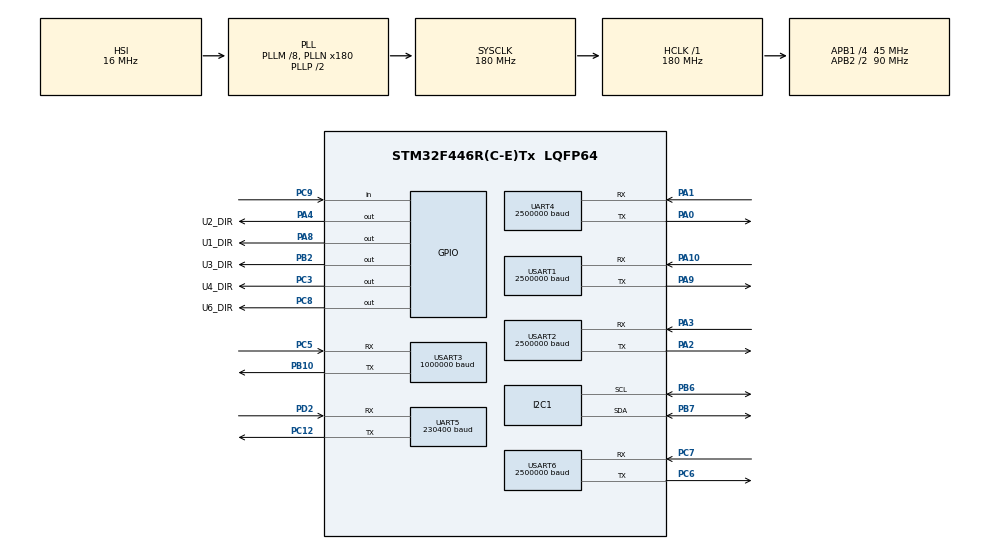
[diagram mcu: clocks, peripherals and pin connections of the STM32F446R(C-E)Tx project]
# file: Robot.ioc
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Dma.Request0=USART3_TX
Dma.Request1=USART3_RX
Dma.Request10=USART6_TX
Dma.Request11=USART6_RX
Dma.Request2=UART4_TX
Dma.Request3=UART4_RX
Dma.Request4=UART5_TX
Dma.Request5=UART5_RX
Dma.Request6=USART2_TX
Dma.Request7=USART2_RX
Dma.Request8=USART1_TX
Dma.Request9=USART1_RX
Dma.UART4_RX.3.Direction=DMA_PERIPH_TO_MEMORY
Dma.UART4_RX.3.FIFOMode=DMA_FIFOMODE_DISABLE
Dma.UART4_RX.3.Instance=DMA1_Stream2
Dma.UART4_RX.3.MemDataAlignment=DMA_MDATAALIGN_BYTE
Dma.UART4_RX.3.MemInc=DMA_MINC_ENABLE
Dma.UART4_RX.3.Mode=DMA_NORMAL
Dma.UART4_RX.3.PeriphDataAlignment=DMA_PDATAALIGN_BYTE
Dma.UART4_RX.3.PeriphInc=DMA_PINC_DISABLE
Dma.UART4_RX.3.Priority=DMA_PRIORITY_LOW
Dma.UART4_TX.2.Direction=DMA_MEMORY_TO_PERIPH
Dma.UART4_TX.2.FIFOMode=DMA_FIFOMODE_DISABLE
Dma.UART4_TX.2.Instance=DMA1_Stream4
Dma.UART4_TX.2.MemDataAlignment=DMA_MDATAALIGN_BYTE
Dma.UART4_TX.2.MemInc=DMA_MINC_ENABLE
Dma.UART4_TX.2.Mode=DMA_NORMAL
Dma.UART4_TX.2.PeriphDataAlignment=DMA_PDATAALIGN_BYTE
Dma.UART4_TX.2.PeriphInc=DMA_PINC_DISABLE
Dma.UART4_TX.2.Priority=DMA_PRIORITY_LOW
Dma.UART5_RX.5.Direction=DMA_PERIPH_TO_MEMORY
Dma.UART5_RX.5.FIFOMode=DMA_FIFOMODE_DISABLE
Dma.UART5_RX.5.Instance=DMA1_Stream0
Dma.UART5_RX.5.MemDataAlignment=DMA_MDATAALIGN_BYTE
Dma.UART5_RX.5.MemInc=DMA_MINC_ENABLE
Dma.UART5_RX.5.Mode=DMA_NORMAL
Dma.UART5_RX.5.PeriphDataAlignment=DMA_PDATAALIGN_BYTE
Dma.UART5_RX.5.PeriphInc=DMA_PINC_DISABLE
Dma.UART5_RX.5.Priority=DMA_PRIORITY_LOW
Dma.UART5_TX.4.Direction=DMA_MEMORY_TO_PERIPH
Dma.UART5_TX.4.FIFOMode=DMA_FIFOMODE_DISABLE
Dma.UART5_TX.4.Instance=DMA1_Stream7
Dma.UART5_TX.4.MemDataAlignment=DMA_MDATAALIGN_BYTE
Dma.UART5_TX.4.MemInc=DMA_MINC_ENABLE
Dma.UART5_TX.4.Mode=DMA_NORMAL
Dma.UART5_TX.4.PeriphDataAlignment=DMA_PDATAALIGN_BYTE
Dma.UART5_TX.4.PeriphInc=DMA_PINC_DISABLE
Dma.UART5_TX.4.Priority=DMA_PRIORITY_LOW
Dma.USART1_RX.9.Direction=DMA_PERIPH_TO_MEMORY
Dma.USART1_RX.9.FIFOMode=DMA_FIFOMODE_DISABLE
Dma.USART1_RX.9.Instance=DMA2_Stream2
Dma.USART1_RX.9.MemDataAlignment=DMA_MDATAALIGN_BYTE
Dma.USART1_RX.9.MemInc=DMA_MINC_ENABLE
Dma.USART1_RX.9.Mode=DMA_NORMAL
Dma.USART1_RX.9.PeriphDataAlignment=DMA_PDATAALIGN_BYTE
Dma.USART1_RX.9.PeriphInc=DMA_PINC_DISABLE
Dma.USART1_RX.9.Priority=DMA_PRIORITY_LOW
Dma.USART1_TX.8.Direction=DMA_MEMORY_TO_PERIPH
Dma.USART1_TX.8.FIFOMode=DMA_FIFOMODE_DISABLE
Dma.USART1_TX.8.Instance=DMA2_Stream7
Dma.USART1_TX.8.MemDataAlignment=DMA_MDATAALIGN_BYTE
Dma.USART1_TX.8.MemInc=DMA_MINC_ENABLE
Dma.USART1_TX.8.Mode=DMA_NORMAL
Dma.USART1_TX.8.PeriphDataAlignment=DMA_PDATAALIGN_BYTE
Dma.USART1_TX.8.PeriphInc=DMA_PINC_DISABLE
Dma.USART1_TX.8.Priority=DMA_PRIORITY_LOW
Dma.USART2_RX.7.Direction=DMA_PERIPH_TO_MEMORY
Dma.USART2_RX.7.FIFOMode=DMA_FIFOMODE_DISABLE
Dma.USART2_RX.7.Instance=DMA1_Stream5
Dma.USART2_RX.7.MemDataAlignment=DMA_MDATAALIGN_BYTE
Dma.USART2_RX.7.MemInc=DMA_MINC_ENABLE
Dma.USART2_RX.7.Mode=DMA_NORMAL
Dma.USART2_RX.7.PeriphDataAlignment=DMA_PDATAALIGN_BYTE
Dma.USART2_RX.7.PeriphInc=DMA_PINC_DISABLE
Dma.USART2_RX.7.Priority=DMA_PRIORITY_LOW
Dma.USART2_TX.6.Direction=DMA_MEMORY_TO_PERIPH
Dma.USART2_TX.6.FIFOMode=DMA_FIFOMODE_DISABLE
Dma.USART2_TX.6.Instance=DMA1_Stream6
Dma.USART2_TX.6.MemDataAlignment=DMA_MDATAALIGN_BYTE
Dma.USART2_TX.6.MemInc=DMA_MINC_ENABLE
Dma.USART2_TX.6.Mode=DMA_NORMAL
Dma.USART2_TX.6.PeriphDataAlignment=DMA_PDATAALIGN_BYTE
Dma.USART2_TX.6.PeriphInc=DMA_PINC_DISABLE
Dma.USART2_TX.6.Priority=DMA_PRIORITY_LOW
Dma.USART3_RX.1.Direction=DMA_PERIPH_TO_MEMORY
Dma.USART3_RX.1.FIFOMode=DMA_FIFOMODE_DISABLE
Dma.USART3_RX.1.Instance=DMA1_Stream1
Dma.USART3_RX.1.MemDataAlignment=DMA_MDATAALIGN_BYTE
Dma.USART3_RX.1.MemInc=DMA_MINC_ENABLE
Dma.USART3_RX.1.Mode=DMA_NORMAL
Dma.USART3_RX.1.PeriphDataAlignment=DMA_PDATAALIGN_BYTE
Dma.USART3_RX.1.PeriphInc=DMA_PINC_DISABLE
Dma.USART3_RX.1.Priority=DMA_PRIORITY_LOW
Dma.USART3_TX.0.Direction=DMA_MEMORY_TO_PERIPH
Dma.USART3_TX.0.FIFOMode=DMA_FIFOMODE_DISABLE
Dma.USART3_TX.0.Instance=DMA1_Stream3
Dma.USART3_TX.0.MemDataAlignment=DMA_MDATAALIGN_BYTE
Dma.USART3_TX.0.MemInc=DMA_MINC_ENABLE
Dma.USART3_TX.0.Mode=DMA_NORMAL
Dma.USART3_TX.0.PeriphDataAlignment=DMA_PDATAALIGN_BYTE
Dma.USART3_TX.0.PeriphInc=DMA_PINC_DISABLE
Dma.USART3_TX.0.Priority=DMA_PRIORITY_LOW
Dma.USART6_RX.11.Direction=DMA_PERIPH_TO_MEMORY
Dma.USART6_RX.11.FIFOMode=DMA_FIFOMODE_DISABLE
Dma.USART6_RX.11.Instance=DMA2_Stream1
Dma.USART6_RX.11.MemDataAlignment=DMA_MDATAALIGN_BYTE
Dma.USART6_RX.11.MemInc=DMA_MINC_ENABLE
Dma.USART6_RX.11.Mode=DMA_NORMAL
Dma.USART6_RX.11.PeriphDataAlignment=DMA_PDATAALIGN_BYTE
Dma.USART6_RX.11.PeriphInc=DMA_PINC_DISABLE
Dma.USART6_RX.11.Priority=DMA_PRIORITY_LOW
Dma.USART6_TX.10.Direction=DMA_MEMORY_TO_PERIPH
Dma.USART6_TX.10.FIFOMode=DMA_FIFOMODE_DISABLE
Dma.USART6_TX.10.Instance=DMA2_Stream6
Dma.USART6_TX.10.MemDataAlignment=DMA_MDATAALIGN_BYTE
Dma.USART6_TX.10.MemInc=DMA_MINC_ENABLE
Dma.USART6_TX.10.Mode=DMA_NORMAL
Dma.USART6_TX.10.PeriphDataAlignment=DMA_PDATAALIGN_BYTE
Dma.USART6_TX.10.PeriphInc=DMA_PINC_DISABLE
Dma.USART6_TX.10.Priority=DMA_PRIORITY_LOW
FREERTOS.INCLUDE_vTaskDelayUntil=1
FREERTOS.MEMORY_ALLOCATION=2
FREERTOS.Mutexes01=PCUART,Static,PCUARTControlBlock
FREERTOS.Queues01=UART1_req,16,UARTcmd_t,0,Static,UART1_reqBuffer,UART1_reqControlBlock;UART2_req,16,UARTcmd_t,0,Static,UART2_reqBuffer,UART2_reqControlBlock;UART3_req,16,UARTcmd_t,0,Static,UART3_reqBuffer,UART3_reqControlBlock;UART4_req,16,UARTcmd_t,0,Static,UART4_reqBuffer,UART4_reqControlBlock;UART6_req,16,UARTcmd_t,0,Static,UART6_reqBuffer,UART6_reqControlBlock;TXQueue,32,TXData_t,0,Static,TXQueueBuffer,TXQueueControlBlock
FREERTOS.Tasks01=defaultTask,-3,128,StartDefaultTask,Default,NULL,Static,defaultTaskBuffer,defaultTaskControlBlock;UART1Task,0,128,StartUART1Task,As external,NULL,Static,UART1TaskBuffer,UART1TaskControlBlock;UART2Task,0,128,StartUART2Task,As external,NULL,Static,UART2TaskBuffer,UART2TaskControlBlock;UART3Task,0,128,StartUART3Task,As external,NULL,Static,UART3TaskBuffer,UART3TaskControlBlock;UART4Task,0,128,StartUART4Task,As external,NULL,Static,UART4TaskBuffer,UART4TaskControlBlock;UART6Task,0,128,StartUART6Task,As external,NULL,Static,UART6TaskBuffer,UART6TaskControlBlock;IMUTask,0,128,StartIMUTask,As external,NULL,Static,IMUTaskBuffer,IMUTaskControlBlock;CommandTask,-1,512,StartCommandTask,As external,NULL,Static,CommandTaskBuffer,CommandTaskControlBlock;RxTask,3,512,StartRxTask,As external,NULL,Static,RxTaskBuffer,RxTaskControlBlock;TxTask,2,512,StartTxTask,As external,NULL,Static,TxTaskBuffer,TxTaskControlBlock
I2C1.I2C_Mode=I2C_Fast
Mcu.Family=STM32F4
Mcu.Name=STM32F446R(C-E)Tx
Mcu.Package=LQFP64
NVIC.DMA1_Stream0_IRQn=true\:5\:0\:false\:false\:true\:true\:false
NVIC.DMA1_Stream1_IRQn=true\:5\:0\:false\:false\:true\:true\:false
NVIC.DMA1_Stream2_IRQn=true\:5\:0\:false\:false\:true\:true\:false
NVIC.DMA1_Stream3_IRQn=true\:5\:0\:false\:false\:true\:true\:false
NVIC.DMA1_Stream4_IRQn=true\:5\:0\:false\:false\:true\:true\:false
NVIC.DMA1_Stream5_IRQn=true\:5\:0\:false\:false\:true\:true\:false
NVIC.DMA1_Stream6_IRQn=true\:5\:0\:false\:false\:true\:true\:false
NVIC.DMA1_Stream7_IRQn=true\:5\:0\:false\:false\:true\:true\:false
NVIC.DMA2_Stream1_IRQn=true\:5\:0\:false\:false\:true\:true\:false
NVIC.DMA2_Stream2_IRQn=true\:5\:0\:false\:false\:true\:true\:false
NVIC.DMA2_Stream6_IRQn=true\:5\:0\:false\:false\:true\:true\:false
NVIC.DMA2_Stream7_IRQn=true\:5\:0\:false\:false\:true\:true\:false
NVIC.I2C1_EV_IRQn=true\:5\:0\:false\:false\:true\:true\:true
NVIC.PriorityGroup=NVIC_PRIORITYGROUP_4
NVIC.TIM1_UP_TIM10_IRQn=true\:0\:0\:false\:false\:true\:false\:false
NVIC.TimeBase=TIM1_UP_TIM10_IRQn
NVIC.TimeBaseIP=TIM1
NVIC.UART4_IRQn=true\:5\:0\:false\:false\:true\:true\:true
NVIC.UART5_IRQn=true\:5\:0\:false\:false\:true\:true\:true
NVIC.USART1_IRQn=true\:5\:0\:false\:false\:true\:true\:true
NVIC.USART2_IRQn=true\:5\:0\:false\:false\:true\:true\:true
NVIC.USART3_IRQn=true\:5\:0\:false\:false\:true\:true\:true
NVIC.USART6_IRQn=true\:5\:0\:false\:false\:true\:true\:true
PA0-WKUP.Mode=Asynchronous
PA0-WKUP.Signal=UART4_TX
PA1.Mode=Asynchronous
PA1.Signal=UART4_RX
PA10.Mode=Asynchronous
PA10.Signal=USART1_RX
PA2.Mode=Asynchronous
PA2.Signal=USART2_TX
PA3.Mode=Asynchronous
PA3.Signal=USART2_RX
PA4.GPIO_Label=U2_DIR
PA4.GPIO_Speed=GPIO_SPEED_FREQ_VERY_HIGH
PA4.Signal=GPIO_Output
PA8.GPIO_Label=U1_DIR
PA8.GPIO_Speed=GPIO_SPEED_FREQ_VERY_HIGH
PA8.Signal=GPIO_Output
PA9.Mode=Asynchronous
PA9.Signal=USART1_TX
PB10.Mode=Asynchronous
PB10.Signal=USART3_TX
PB2.GPIO_Label=U3_DIR
PB2.GPIO_Speed=GPIO_SPEED_FREQ_VERY_HIGH
PB2.Signal=GPIO_Output
PB6.Mode=I2C
PB6.Signal=I2C1_SCL
PB7.Mode=I2C
PB7.Signal=I2C1_SDA
PC12.Mode=Asynchronous
PC12.Signal=UART5_TX
PC3.GPIO_Label=U4_DIR
PC3.GPIO_Speed=GPIO_SPEED_FREQ_VERY_HIGH
PC3.Signal=GPIO_Output
PC5.Mode=Asynchronous
PC5.Signal=USART3_RX
PC6.Mode=Asynchronous
PC6.Signal=USART6_TX
PC7.Mode=Asynchronous
PC7.Signal=USART6_RX
PC8.GPIO_Label=U6_DIR
PC8.GPIO_Speed=GPIO_SPEED_FREQ_VERY_HIGH
PC8.Signal=GPIO_Output
PC9.Signal=GPIO_Input
PD2.Mode=Asynchronous
PD2.Signal=UART5_RX
ProjectManager.HeapSize=0x200
ProjectManager.StackSize=0x400
ProjectManager.TargetToolchain=SW4STM32
RCC.AHBFreq_Value=180000000
RCC.APB1CLKDivider=RCC_HCLK_DIV4
RCC.APB1Freq_Value=45000000
RCC.APB1TimFreq_Value=90000000
RCC.APB2CLKDivider=RCC_HCLK_DIV2
RCC.APB2Freq_Value=90000000
RCC.APB2TimFreq_Value=180000000
RCC.CortexFreq_Value=180000000
RCC.HCLKFreq_Value=180000000
RCC.PLLM=8
RCC.PLLN=180
RCC.SYSCLKFreq_VALUE=180000000
RCC.SYSCLKSource=RCC_SYSCLKSOURCE_PLLCLK
RCC.USBFreq_Value=180000000
RCC.VCOOutputFreq_Value=360000000
UART4.BaudRate=2500000
UART4.VirtualMode=Asynchronous
UART5.BaudRate=230400
UART5.VirtualMode=Asynchronous
USART1.BaudRate=2500000
USART1.VirtualMode=VM_ASYNC
USART2.BaudRate=2500000
USART2.VirtualMode=VM_ASYNC
USART3.BaudRate=1000000
USART3.VirtualMode=VM_ASYNC
USART6.BaudRate=2500000
USART6.VirtualMode=VM_ASYNC
VP_FREERTOS_VS_ENABLE.Mode=Enabled
VP_SYS_VS_tim1.Mode=TIM1
board=Robot

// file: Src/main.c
/**
  ******************************************************************************
  * @file           : main.c
  * @brief          : Main program body
  ******************************************************************************
  * This notice applies to any and all portions of this file
  * that are not between comment pairs USER CODE BEGIN and
  * USER CODE END. Other portions of this file, whether
  * inserted by the user or by software development tools
  * are owned by their respective copyright owners.
  *
  * Copyright (c) 2018 STMicroelectronics International N.V.
  * All rights reserved.
  *
  * Redistribution and use in source and binary forms, with or without
  * modification, are permitted, provided that the following conditions are met:
  *
  * 1. Redistribution of source code must retain the above copyright notice,
  *    this list of conditions and the following disclaimer.
  * 2. Redistributions in binary form must reproduce the above copyright notice,
  *    this list of conditions and the following disclaimer in the documentation
  *    and/or other materials provided with the distribution.
  * 3. Neither the name of STMicroelectronics nor the names of other
  *    contributors to this software may be used to endorse or promote products
  *    derived from this software without specific written permission.
  * 4. This software, including modifications and/or derivative works of this
  *    software, must execute solely and exclusively on microcontroller or
  *    microprocessor devices manufactured by or for STMicroelectronics.
  * 5. Redistribution and use of this software other than as permitted under
  *    this license is void and will automatically terminate your rights under
  *    this license.
  *
  * THIS SOFTWARE IS PROVIDED BY STMICROELECTRONICS AND CONTRIBUTORS "AS IS"
  * AND ANY EXPRESS, IMPLIED OR STATUTORY WARRANTIES, INCLUDING, BUT NOT
  * LIMITED TO, THE IMPLIED WARRANTIES OF MERCHANTABILITY, FITNESS FOR A
  * PARTICULAR PURPOSE AND NON-INFRINGEMENT OF THIRD PARTY INTELLECTUAL PROPERTY
  * RIGHTS ARE DISCLAIMED TO THE FULLEST EXTENT PERMITTED BY LAW. IN NO EVENT
  * SHALL STMICROELECTRONICS OR CONTRIBUTORS BE LIABLE FOR ANY DIRECT, INDIRECT,
  * INCIDENTAL, SPECIAL, EXEMPLARY, OR CONSEQUENTIAL DAMAGES (INCLUDING, BUT NOT
  * LIMITED TO, PROCUREMENT OF SUBSTITUTE GOODS OR SERVICES; LOSS OF USE, DATA,
  * OR PROFITS; OR BUSINESS INTERRUPTION) HOWEVER CAUSED AND ON ANY THEORY OF
  * LIABILITY, WHETHER IN CONTRACT, STRICT LIABILITY, OR TORT (INCLUDING
  * NEGLIGENCE OR OTHERWISE) ARISING IN ANY WAY OUT OF THE USE OF THIS SOFTWARE,
  * EVEN IF ADVISED OF THE POSSIBILITY OF SUCH DAMAGE.
  *
  ******************************************************************************
  */
#include "main.h"
#include "stm32f4xx_hal.h"
#include "cmsis_os.h"
#include "dma.h"
#include "i2c.h"
#include "usart.h"
#include "gpio.h"

/* USER CODE BEGIN PV */
/* Private variables ---------------------------------------------------------*/

/* USER CODE END PV */

void SystemClock_Config(void);
void MX_FREERTOS_Init(void);

/* USER CODE BEGIN PFP */
/* Private function prototypes -----------------------------------------------*/

/* USER CODE END PFP */

/* USER CODE BEGIN 0 */
/** \mainpage Welcome
 *
 * \section intro_sec Introduction
 *
 * This is the documentation for the embedded software for UTRA's soccerbot.
 * In the future, this page will be updated with high-level descriptions of
 * how this software works (including some diagrams!). Until that time comes,
 * we suggest browsing the Modules and Data Structures sections.
 *
 * To return to UTRA's website, <a href="http://utrahumanoid.ca/">click me</a>.
 *
 * \section desc High-level Description
 * Coming soon.
 *
 * \subsection desc_dataflow Dataflow
 * Coming soon. For now, please see [FreeRTOS](@ref FreeRTOS), [UART_Handler]
 * (@ref UART_Handler) and [Communication](@ref Communication).
 *
 * \subsection desc_actuators Actuators
 * Coming soon. For now, please see [Dynamixel](@ref Dynamixel).
 *
 * \subsection desc_sensors Sensors
 * Coming soon. For now, please see [MPU6050](@ref MPU6050).
 */
/* USER CODE END 0 */

int main(void)
{

  /* MCU Configuration----------------------------------------------------------*/

  /* Reset of all peripherals, Initializes the Flash interface and the Systick. */
  HAL_Init();

  /* Configure the system clock */
  SystemClock_Config();

  /* Initialize all configured peripherals */
  MX_GPIO_Init();
  MX_DMA_Init();
  MX_USART1_UART_Init();
  MX_USART6_UART_Init();
  MX_USART2_UART_Init();
  MX_UART4_Init();
  MX_I2C1_Init();
  MX_USART3_UART_Init();
  MX_UART5_Init();

  /* Call init function for freertos objects (in freertos.c) */
  MX_FREERTOS_Init();

  /* Start scheduler */
  osKernelStart();

  /* We should never get here as control is now taken by the scheduler */

  /* Infinite loop */
  while (1)
  {

  }

}

void SystemClock_Config(void)
{

  RCC_OscInitTypeDef RCC_OscInitStruct;
  RCC_ClkInitTypeDef RCC_ClkInitStruct;

    /**Configure the main internal regulator output voltage
    */
  __HAL_RCC_PWR_CLK_ENABLE();

  __HAL_PWR_VOLTAGESCALING_CONFIG(PWR_REGULATOR_VOLTAGE_SCALE1);

    /**Initializes the CPU, AHB and APB busses clocks
    */
  RCC_OscInitStruct.OscillatorType = RCC_OSCILLATORTYPE_HSI;
  RCC_OscInitStruct.HSIState = RCC_HSI_ON;
  RCC_OscInitStruct.HSICalibrationValue = 16;
  RCC_OscInitStruct.PLL.PLLState = RCC_PLL_ON;
  RCC_OscInitStruct.PLL.PLLSource = RCC_PLLSOURCE_HSI;
  RCC_OscInitStruct.PLL.PLLM = 8;
  RCC_OscInitStruct.PLL.PLLN = 180;
  RCC_OscInitStruct.PLL.PLLP = RCC_PLLP_DIV2;
  RCC_OscInitStruct.PLL.PLLQ = 2;
  RCC_OscInitStruct.PLL.PLLR = 2;
  if (HAL_RCC_OscConfig(&RCC_OscInitStruct) != HAL_OK)
  {
    _Error_Handler(__FILE__, __LINE__);
  }

    /**Activate the Over-Drive mode
    */
  if (HAL_PWREx_EnableOverDrive() != HAL_OK)
  {
    _Error_Handler(__FILE__, __LINE__);
  }

    /**Initializes the CPU, AHB and APB busses clocks
    */
  RCC_ClkInitStruct.ClockType = RCC_CLOCKTYPE_HCLK|RCC_CLOCKTYPE_SYSCLK
                              |RCC_CLOCKTYPE_PCLK1|RCC_CLOCKTYPE_PCLK2;
  RCC_ClkInitStruct.SYSCLKSource = RCC_SYSCLKSOURCE_PLLCLK;
  RCC_ClkInitStruct.AHBCLKDivider = RCC_SYSCLK_DIV1;
  RCC_ClkInitStruct.APB1CLKDivider = RCC_HCLK_DIV4;
  RCC_ClkInitStruct.APB2CLKDivider = RCC_HCLK_DIV2;

  if (HAL_RCC_ClockConfig(&RCC_ClkInitStruct, FLASH_LATENCY_5) != HAL_OK)
  {
    _Error_Handler(__FILE__, __LINE__);
  }

    /**Configure the Systick interrupt time
    */
  HAL_SYSTICK_Config(HAL_RCC_GetHCLKFreq()/1000);

    /**Configure the Systick
    */
  HAL_SYSTICK_CLKSourceConfig(SYSTICK_CLKSOURCE_HCLK);

  /* SysTick_IRQn interrupt configuration */
  HAL_NVIC_SetPriority(SysTick_IRQn, 15, 0);
}

void HAL_TIM_PeriodElapsedCallback(TIM_HandleTypeDef *htim)
{
  if (htim->Instance == TIM1) {
    HAL_IncTick();
  }
}

void _Error_Handler(char *file, int line)
{
  while(1)
  {
  }
}

/************************ (C) COPYRIGHT STMicroelectronics *****END OF FILE****/

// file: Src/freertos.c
/**
  ******************************************************************************
  * File Name          : freertos.c
  * Description        : Code for freertos applications
  ******************************************************************************
  * This notice applies to any and all portions of this file
  * that are not between comment pairs USER CODE BEGIN and
  * USER CODE END. Other portions of this file, whether
  * inserted by the user or by software development tools
  * are owned by their respective copyright owners.
  *
  * Copyright (c) 2018 STMicroelectronics International N.V.
  * All rights reserved.
  *
  * Redistribution and use in source and binary forms, with or without
  * modification, are permitted, provided that the following conditions are met:
  *
  * 1. Redistribution of source code must retain the above copyright notice,
  *    this list of conditions and the following disclaimer.
  * 2. Redistributions in binary form must reproduce the above copyright notice,
  *    this list of conditions and the following disclaimer in the documentation
  *    and/or other materials provided with the distribution.
  * 3. Neither the name of STMicroelectronics nor the names of other
  *    contributors to this software may be used to endorse or promote products
  *    derived from this software without specific written permission.
  * 4. This software, including modifications and/or derivative works of this
  *    software, must execute solely and exclusively on microcontroller or
  *    microprocessor devices manufactured by or for STMicroelectronics.
  * 5. Redistribution and use of this software other than as permitted under
  *    this license is void and will automatically terminate your rights under
  *    this license.
  *
  * THIS SOFTWARE IS PROVIDED BY STMICROELECTRONICS AND CONTRIBUTORS "AS IS"
  * AND ANY EXPRESS, IMPLIED OR STATUTORY WARRANTIES, INCLUDING, BUT NOT
  * LIMITED TO, THE IMPLIED WARRANTIES OF MERCHANTABILITY, FITNESS FOR A
  * PARTICULAR PURPOSE AND NON-INFRINGEMENT OF THIRD PARTY INTELLECTUAL PROPERTY
  * RIGHTS ARE DISCLAIMED TO THE FULLEST EXTENT PERMITTED BY LAW. IN NO EVENT
  * SHALL STMICROELECTRONICS OR CONTRIBUTORS BE LIABLE FOR ANY DIRECT, INDIRECT,
  * INCIDENTAL, SPECIAL, EXEMPLARY, OR CONSEQUENTIAL DAMAGES (INCLUDING, BUT NOT
  * LIMITED TO, PROCUREMENT OF SUBSTITUTE GOODS OR SERVICES; LOSS OF USE, DATA,
  * OR PROFITS; OR BUSINESS INTERRUPTION) HOWEVER CAUSED AND ON ANY THEORY OF
  * LIABILITY, WHETHER IN CONTRACT, STRICT LIABILITY, OR TORT (INCLUDING
  * NEGLIGENCE OR OTHERWISE) ARISING IN ANY WAY OUT OF THE USE OF THIS SOFTWARE,
  * EVEN IF ADVISED OF THE POSSIBILITY OF SUCH DAMAGE.
  *
  ******************************************************************************
  */

#include "FreeRTOS.h"
#include "task.h"
#include "cmsis_os.h"

/* USER CODE BEGIN Includes */
/**
 * @file    freertos.c
 * @brief   Code for freertos application
 * @author  Gokul
 * @author  Tyler
 * @author  Izaak
 *
 * @defgroup FreeRTOS FreeRTOS
 * @brief    Everything related to FreeRTOS
 */

#include <stdint.h>
#include <stdbool.h>
#include <math.h>
#include <Notification.h>
#include "stm32f4xx_hal.h"
#include "usart.h"
#include "gpio.h"
#include "i2c.h"
#include "../Drivers/MPU6050/MPU6050.h"
#include "../Drivers/MPU6050/MPUFilter.h"
#include "UART_Handler.h"
#include "../Drivers/Dynamixel/ProtocolV1/DynamixelProtocolV1.h"
#include "../Drivers/Communication/Communication.h"
/* USER CODE END Includes */

osThreadId defaultTaskHandle;
uint32_t defaultTaskBuffer[ 128 ];
osStaticThreadDef_t defaultTaskControlBlock;
osThreadId UART1TaskHandle;
uint32_t UART1TaskBuffer[ 128 ];
osStaticThreadDef_t UART1TaskControlBlock;
osThreadId UART2TaskHandle;
uint32_t UART2TaskBuffer[ 128 ];
osStaticThreadDef_t UART2TaskControlBlock;
osThreadId UART3TaskHandle;
uint32_t UART3TaskBuffer[ 128 ];
osStaticThreadDef_t UART3TaskControlBlock;
osThreadId UART4TaskHandle;
uint32_t UART4TaskBuffer[ 128 ];
osStaticThreadDef_t UART4TaskControlBlock;
osThreadId UART6TaskHandle;
uint32_t UART6TaskBuffer[ 128 ];
osStaticThreadDef_t UART6TaskControlBlock;
osThreadId IMUTaskHandle;
uint32_t IMUTaskBuffer[ 128 ];
osStaticThreadDef_t IMUTaskControlBlock;
osThreadId CommandTaskHandle;
uint32_t CommandTaskBuffer[ 512 ];
osStaticThreadDef_t CommandTaskControlBlock;
osThreadId RxTaskHandle;
uint32_t RxTaskBuffer[ 512 ];
osStaticThreadDef_t RxTaskControlBlock;
osThreadId TxTaskHandle;
uint32_t TxTaskBuffer[ 512 ];
osStaticThreadDef_t TxTaskControlBlock;
osMessageQId UART1_reqHandle;
uint8_t UART1_reqBuffer[ 16 * sizeof( UARTcmd_t ) ];
osStaticMessageQDef_t UART1_reqControlBlock;
osMessageQId UART2_reqHandle;
uint8_t UART2_reqBuffer[ 16 * sizeof( UARTcmd_t ) ];
osStaticMessageQDef_t UART2_reqControlBlock;
osMessageQId UART3_reqHandle;
uint8_t UART3_reqBuffer[ 16 * sizeof( UARTcmd_t ) ];
osStaticMessageQDef_t UART3_reqControlBlock;
osMessageQId UART4_reqHandle;
uint8_t UART4_reqBuffer[ 16 * sizeof( UARTcmd_t ) ];
osStaticMessageQDef_t UART4_reqControlBlock;
osMessageQId UART6_reqHandle;
uint8_t UART6_reqBuffer[ 16 * sizeof( UARTcmd_t ) ];
osStaticMessageQDef_t UART6_reqControlBlock;
osMessageQId TXQueueHandle;
uint8_t TXQueueBuffer[ 32 * sizeof( TXData_t ) ];
osStaticMessageQDef_t TXQueueControlBlock;
osMutexId PCUARTHandle;
osStaticMutexDef_t PCUARTControlBlock;

/* USER CODE BEGIN Variables */
enum motorNames {MOTOR1, MOTOR2, MOTOR3, MOTOR4, MOTOR5,
				 MOTOR6, MOTOR7, MOTOR8, MOTOR9, MOTOR10,
				 MOTOR11, MOTOR12, MOTOR13, MOTOR14, MOTOR15,
				 MOTOR16, MOTOR17, MOTOR18
};

Dynamixel_HandleTypeDef Motor1, Motor2, Motor3 ,Motor4, Motor5,
						Motor6, Motor7, Motor8, Motor9, Motor10,
						Motor11, Motor12, Motor13, Motor14, Motor15,
						Motor16, Motor17, Motor18;

MPU6050_HandleTypeDef IMUdata;

bool setupIsDone = false;
static volatile uint32_t error;
/* USER CODE END Variables */

void StartDefaultTask(void const * argument);
extern void StartUART1Task(void const * argument);
extern void StartUART2Task(void const * argument);
extern void StartUART3Task(void const * argument);
extern void StartUART4Task(void const * argument);
extern void StartUART6Task(void const * argument);
extern void StartIMUTask(void const * argument);
extern void StartCommandTask(void const * argument);
extern void StartRxTask(void const * argument);
extern void StartTxTask(void const * argument);

void MX_FREERTOS_Init(void); /* (MISRA C 2004 rule 8.1) */

/* GetIdleTaskMemory prototype (linked to static allocation support) */
void vApplicationGetIdleTaskMemory( StaticTask_t **ppxIdleTaskTCBBuffer, StackType_t **ppxIdleTaskStackBuffer, uint32_t *pulIdleTaskStackSize );

/* Hook prototypes */

/* USER CODE BEGIN GET_IDLE_TASK_MEMORY */
static StaticTask_t xIdleTaskTCBBuffer;
static StackType_t xIdleStack[configMINIMAL_STACK_SIZE];

void vApplicationGetIdleTaskMemory( StaticTask_t **ppxIdleTaskTCBBuffer, StackType_t **ppxIdleTaskStackBuffer, uint32_t *pulIdleTaskStackSize )
{
  *ppxIdleTaskTCBBuffer = &xIdleTaskTCBBuffer;
  *ppxIdleTaskStackBuffer = &xIdleStack[0];
  *pulIdleTaskStackSize = configMINIMAL_STACK_SIZE;
  /* place for user code */
}
/* USER CODE END GET_IDLE_TASK_MEMORY */

/* Init FreeRTOS */

void MX_FREERTOS_Init(void) {

  /* Create the mutex(es) */
  /* definition and creation of PCUART */
  osMutexStaticDef(PCUART, &PCUARTControlBlock);
  PCUARTHandle = osMutexCreate(osMutex(PCUART));

  /* Create the thread(s) */
  /* definition and creation of defaultTask */
  osThreadStaticDef(defaultTask, StartDefaultTask, osPriorityIdle, 0, 128, defaultTaskBuffer, &defaultTaskControlBlock);
  defaultTaskHandle = osThreadCreate(osThread(defaultTask), NULL);

  /* definition and creation of UART1Task */
  osThreadStaticDef(UART1Task, StartUART1Task, osPriorityNormal, 0, 128, UART1TaskBuffer, &UART1TaskControlBlock);
  UART1TaskHandle = osThreadCreate(osThread(UART1Task), NULL);

  /* definition and creation of UART2Task */
  osThreadStaticDef(UART2Task, StartUART2Task, osPriorityNormal, 0, 128, UART2TaskBuffer, &UART2TaskControlBlock);
  UART2TaskHandle = osThreadCreate(osThread(UART2Task), NULL);

  /* definition and creation of UART3Task */
  osThreadStaticDef(UART3Task, StartUART3Task, osPriorityNormal, 0, 128, UART3TaskBuffer, &UART3TaskControlBlock);
  UART3TaskHandle = osThreadCreate(osThread(UART3Task), NULL);

  /* definition and creation of UART4Task */
  osThreadStaticDef(UART4Task, StartUART4Task, osPriorityNormal, 0, 128, UART4TaskBuffer, &UART4TaskControlBlock);
  UART4TaskHandle = osThreadCreate(osThread(UART4Task), NULL);

  /* definition and creation of UART6Task */
  osThreadStaticDef(UART6Task, StartUART6Task, osPriorityNormal, 0, 128, UART6TaskBuffer, &UART6TaskControlBlock);
  UART6TaskHandle = osThreadCreate(osThread(UART6Task), NULL);

  /* definition and creation of IMUTask */
  osThreadStaticDef(IMUTask, StartIMUTask, osPriorityNormal, 0, 128, IMUTaskBuffer, &IMUTaskControlBlock);
  IMUTaskHandle = osThreadCreate(osThread(IMUTask), NULL);

  /* definition and creation of CommandTask */
  osThreadStaticDef(CommandTask, StartCommandTask, osPriorityBelowNormal, 0, 512, CommandTaskBuffer, &CommandTaskControlBlock);
  CommandTaskHandle = osThreadCreate(osThread(CommandTask), NULL);

  /* definition and creation of RxTask */
  osThreadStaticDef(RxTask, StartRxTask, osPriorityRealtime, 0, 512, RxTaskBuffer, &RxTaskControlBlock);
  RxTaskHandle = osThreadCreate(osThread(RxTask), NULL);

  /* definition and creation of TxTask */
  osThreadStaticDef(TxTask, StartTxTask, osPriorityHigh, 0, 512, TxTaskBuffer, &TxTaskControlBlock);
  TxTaskHandle = osThreadCreate(osThread(TxTask), NULL);

  /* Create the queue(s) */
  /* definition and creation of UART1_req */
  osMessageQStaticDef(UART1_req, 16, UARTcmd_t, UART1_reqBuffer, &UART1_reqControlBlock);
  UART1_reqHandle = osMessageCreate(osMessageQ(UART1_req), NULL);

  /* definition and creation of UART2_req */
  osMessageQStaticDef(UART2_req, 16, UARTcmd_t, UART2_reqBuffer, &UART2_reqControlBlock);
  UART2_reqHandle = osMessageCreate(osMessageQ(UART2_req), NULL);

  /* definition and creation of UART3_req */
  osMessageQStaticDef(UART3_req, 16, UARTcmd_t, UART3_reqBuffer, &UART3_reqControlBlock);
  UART3_reqHandle = osMessageCreate(osMessageQ(UART3_req), NULL);

  /* definition and creation of UART4_req */
  osMessageQStaticDef(UART4_req, 16, UARTcmd_t, UART4_reqBuffer, &UART4_reqControlBlock);
  UART4_reqHandle = osMessageCreate(osMessageQ(UART4_req), NULL);

  /* definition and creation of UART6_req */
  osMessageQStaticDef(UART6_req, 16, UARTcmd_t, UART6_reqBuffer, &UART6_reqControlBlock);
  UART6_reqHandle = osMessageCreate(osMessageQ(UART6_req), NULL);

  /* definition and creation of TXQueue */
  osMessageQStaticDef(TXQueue, 32, TXData_t, TXQueueBuffer, &TXQueueControlBlock);
  TXQueueHandle = osMessageCreate(osMessageQ(TXQueue), NULL);

}

/* StartDefaultTask function */
void StartDefaultTask(void const * argument)
{

  for(;;)
  {
	osDelay(1);
  }
}

/* USER CODE BEGIN Application */
/**
 * @defgroup Threads Threads
 * @brief    These are functions run in the context of their own FreeRTOS
 *           threads
 *
 * @ingroup  FreeRTOS
 */

/**
  * @brief  This function is executed in the context of the commandTask
  *         thread. It initializes all data structures and peripheral
  *         devices associated with the application, and then assumes
  *         responsibility for distributing commands to the actuators
  *
  *         This function never returns.
  *
  * @ingroup Threads
  */
void StartCommandTask(void const * argument)
{
    Dynamixel_SetIOType(IO_POLL); // Configure IO

    Dynamixel_Init(&Motor12, 12, &huart6, GPIOC, GPIO_PIN_8, MX28TYPE);
    Dynamixel_Init(&Motor11, 11, &huart6, GPIOC, GPIO_PIN_8, MX28TYPE);
    Dynamixel_Init(&Motor10, 10, &huart6, GPIOC, GPIO_PIN_8, MX28TYPE);
    Dynamixel_Init(&Motor9, 9, &huart1, GPIOA, GPIO_PIN_8, MX28TYPE);
    Dynamixel_Init(&Motor8, 8, &huart1, GPIOA, GPIO_PIN_8, MX28TYPE);
    Dynamixel_Init(&Motor7, 7, &huart1, GPIOA, GPIO_PIN_8, MX28TYPE);
    Dynamixel_Init(&Motor6, 6, &huart4, GPIOC, GPIO_PIN_3, MX28TYPE);
    Dynamixel_Init(&Motor5, 5, &huart4, GPIOC, GPIO_PIN_3, MX28TYPE);
    Dynamixel_Init(&Motor4, 4, &huart4, GPIOC, GPIO_PIN_3, MX28TYPE);
    Dynamixel_Init(&Motor3, 3, &huart2, GPIOA, GPIO_PIN_4, MX28TYPE);
    Dynamixel_Init(&Motor2, 2, &huart2, GPIOA, GPIO_PIN_4, MX28TYPE);
    Dynamixel_Init(&Motor1, 1, &huart2, GPIOA, GPIO_PIN_4, MX28TYPE);
    Dynamixel_Init(&Motor13, 13, &huart3, GPIOB, GPIO_PIN_2, AX12ATYPE);
    Dynamixel_Init(&Motor14, 14, &huart3, GPIOB, GPIO_PIN_2, AX12ATYPE);
    Dynamixel_Init(&Motor15, 15, &huart3, GPIOB, GPIO_PIN_2, AX12ATYPE);
    Dynamixel_Init(&Motor16, 16, &huart3, GPIOB, GPIO_PIN_2, AX12ATYPE);
    Dynamixel_Init(&Motor17, 17, &huart3, GPIOB, GPIO_PIN_2, AX12ATYPE);
    Dynamixel_Init(&Motor18, 18, &huart3, GPIOB, GPIO_PIN_2, AX12ATYPE);

    Dynamixel_HandleTypeDef* arrDynamixel[18] = {&Motor1,&Motor2,&Motor3,&Motor4,
            &Motor5,&Motor6,&Motor7,&Motor8,&Motor9,&Motor10,&Motor11,&Motor12,
            &Motor13,&Motor14,&Motor15,&Motor16,&Motor17,&Motor18};

    UARTcmd_t Motorcmd[18];
    for(uint8_t i = MOTOR1; i <= MOTOR18; i++) {
        // Configure motor to return status packets only for read commands
        Dynamixel_SetStatusReturnLevel(arrDynamixel[i], 1);

        // Configure motor to return status packets with minimal latency
        Dynamixel_SetReturnDelayTime(arrDynamixel[i], 100);

        // Enable motor torque
        Dynamixel_TorqueEnable(arrDynamixel[i], 1);

        // Settings for torque near goal position, and acceptable error (AX12A only)
        if(arrDynamixel[i]->_motorType == AX12ATYPE){
            AX12A_SetComplianceSlope(arrDynamixel[i], 5); // 4 vibrates; 7 is too loose
            AX12A_SetComplianceMargin(arrDynamixel[i], 1);
        }

        (Motorcmd[i]).motorHandle = arrDynamixel[i];
        (Motorcmd[i]).type = cmdWritePosition;
    }

    (Motorcmd[MOTOR1]).qHandle = UART2_reqHandle;
    (Motorcmd[MOTOR2]).qHandle = UART2_reqHandle;
    (Motorcmd[MOTOR3]).qHandle = UART2_reqHandle;
    (Motorcmd[MOTOR4]).qHandle = UART4_reqHandle;
    (Motorcmd[MOTOR5]).qHandle = UART4_reqHandle;
    (Motorcmd[MOTOR6]).qHandle = UART4_reqHandle;
    (Motorcmd[MOTOR7]).qHandle = UART1_reqHandle;
    (Motorcmd[MOTOR8]).qHandle = UART1_reqHandle;
    (Motorcmd[MOTOR9]).qHandle = UART1_reqHandle;
    (Motorcmd[MOTOR10]).qHandle = UART6_reqHandle;
    (Motorcmd[MOTOR11]).qHandle = UART6_reqHandle;
    (Motorcmd[MOTOR12]).qHandle = UART6_reqHandle;
    (Motorcmd[MOTOR13]).qHandle = UART3_reqHandle;
    (Motorcmd[MOTOR14]).qHandle = UART3_reqHandle;
    (Motorcmd[MOTOR15]).qHandle = UART3_reqHandle;
    (Motorcmd[MOTOR16]).qHandle = UART3_reqHandle;
    (Motorcmd[MOTOR17]).qHandle = UART3_reqHandle;
    (Motorcmd[MOTOR18]).qHandle = UART3_reqHandle;

    Dynamixel_SetIOType(IO_DMA); // Configure IO to use DMA

    // IMU initialization
    IMUdata._I2C_Handle = &hi2c1;
    MPU6050_init(&IMUdata);
    MPU6050_manually_set_offsets(&IMUdata);
    MPU6050_set_LPF(&IMUdata, 6); // 5 Hz bandwidth

    // Set setupIsDone and unblock the higher-priority tasks
    setupIsDone = true;
    xTaskNotify(RxTaskHandle, 1UL, eNoAction);
    xTaskNotify(TxTaskHandle, 1UL, eNoAction);
    xTaskNotify(UART1TaskHandle, 1UL, eNoAction);
    xTaskNotify(UART2TaskHandle, 1UL, eNoAction);
    xTaskNotify(UART3TaskHandle, 1UL, eNoAction);
    xTaskNotify(UART4TaskHandle, 1UL, eNoAction);
    xTaskNotify(UART6TaskHandle, 1UL, eNoAction);
    xTaskNotify(IMUTaskHandle, 1UL, eNoAction);

    uint32_t numIterations = 0;
    uint8_t i;
    float positions[18];
    while(1){
        xTaskNotifyWait(0, NOTIFIED_FROM_TASK, NULL, portMAX_DELAY);

        // Convert raw bytes from robotGoal received from PC into floats
        for(uint8_t i = 0; i < 18; i++){
            uint8_t* ptr = (uint8_t*)&positions[i];
            for(uint8_t j = 0; j < 4; j++){
                *ptr = robotGoal.msg[i * 4 + j];
                ptr++;
            }
        }

        if(numIterations % 100 == 0){
            // Every 100 iterations, assert torque enable
            for(uint8_t i = MOTOR1; i <= MOTOR18; i++){
                Motorcmd[i].type = cmdWriteTorque;
                Motorcmd[i].value = 1; // Enable
                xQueueSend(Motorcmd[i].qHandle, &Motorcmd[i], 0);
            }
        }

        // Send each goal position to the queue, where the UART handler
        // thread that's listening will receive it and send it to the motor
        for(i = MOTOR1; i <= MOTOR18; i++){ // NB: i begins at 0 (i.e. Motor1 corresponds to i = 0)
            switch(i){
                case MOTOR1: Motorcmd[i].value = positions[i]*180/PI + 150;
                    break;
                case MOTOR2: Motorcmd[i].value = positions[i]*180/PI + 150;
                    break;
                case MOTOR3: Motorcmd[i].value = positions[i]*180/PI + 150;
                    break;
                case MOTOR4: Motorcmd[i].value = -1*positions[i]*180/PI + 150;
                    break;
                case MOTOR5: Motorcmd[i].value = -1*positions[i]*180/PI + 150;
                    break;
                case MOTOR6: Motorcmd[i].value = -1*positions[i]*180/PI + 150;
                    break;
                case MOTOR7: Motorcmd[i].value = -1*positions[i]*180/PI + 150;
                    break;
                case MOTOR8: Motorcmd[i].value = -1*positions[i]*180/PI + 150;
                    break;
                case MOTOR9: Motorcmd[i].value = positions[i]*180/PI + 150;
                    break;
                case MOTOR10: Motorcmd[i].value = -1*positions[i]*180/PI + 150;
                    break;
                case MOTOR11: Motorcmd[i].value = -1*positions[i]*180/PI + 150;
                    break;
                case MOTOR12: Motorcmd[i].value = positions[i]*180/PI + 150;
                    break;
                case MOTOR13: Motorcmd[i].value = positions[i]*180/PI + 150; // Left shoulder
                    break;
                case MOTOR14: Motorcmd[i].value = positions[i]*180/PI + 60; // Left elbow
                    break;
                case MOTOR15: Motorcmd[i].value = -1*positions[i]*180/PI + 150; // Right shoulder
                    break;
                case MOTOR16: Motorcmd[i].value = -1*positions[i]*180/PI + 240; // Right elbow
                    break;
                case MOTOR17: Motorcmd[i].value = -1*positions[i]*180/PI + 150; // Neck pan
                    break;
                case MOTOR18: Motorcmd[i].value = -1*positions[i]*180/PI + 150; // Neck tilt
                    break;
                default:
                    break;
            }

            Motorcmd[i].type = cmdWritePosition;
            xQueueSend(Motorcmd[i].qHandle, &Motorcmd[i], 0);

            // Only read from legs
            if(i <= MOTOR12){
                Motorcmd[i].type = cmdReadPosition;
                xQueueSend(Motorcmd[i].qHandle, &Motorcmd[i], 0);
            }
        }

        numIterations++;
    }
}

/**
  * @brief  This function is executed in the context of the UART1_
  *         thread. It processes all commands for the motors
  *         physically connected to UART1, and initiates the I/O
  *         calls to them. Whenever it processes read commands for
  *         a motor, it sends the data received to the
  *         multi-writer sensor queue, which is read only by the
  *         TX task.
  *
  *         This function never returns.
  *
  * @ingroup Threads
  */
void StartUART1Task(void const * argument)
{
    // Here, we use task notifications to block this task from running until a notification
    // is received. This allows one-time setup to complete in a low-priority task.
    xTaskNotifyWait(UINT32_MAX, UINT32_MAX, NULL, portMAX_DELAY);

    UARTcmd_t cmdMessage;
    TXData_t dataToSend;
    dataToSend.eDataType = eMotorData;

    for(;;)
    {
        while(xQueueReceive(UART1_reqHandle, &cmdMessage, portMAX_DELAY) != pdTRUE);
        UART_ProcessEvent(&cmdMessage, &dataToSend);
    }
}

/**
  * @brief  This function is executed in the context of the UART2_
  *         thread. It processes all commands for the motors
  *         physically connected to UART2, and initiates the I/O
  *         calls to them. Whenever it processes read commands for
  *         a motor, it sends the data received to the
  *         multi-writer sensor queue, which is read only by the
  *         TX task.
  *
  *         This function never returns.
  *
  * @ingroup Threads
  */
void StartUART2Task(void const * argument)
{
    // Here, we use task notifications to block this task from running until a notification
    // is received. This allows one-time setup to complete in a low-priority task.
    xTaskNotifyWait(UINT32_MAX, UINT32_MAX, NULL, portMAX_DELAY);

    UARTcmd_t cmdMessage;
    TXData_t dataToSend;
    dataToSend.eDataType = eMotorData;

    for(;;)
    {
        while(xQueueReceive(UART2_reqHandle, &cmdMessage, portMAX_DELAY) != pdTRUE);
        UART_ProcessEvent(&cmdMessage, &dataToSend);
    }
}

/**
  * @brief  This function is executed in the context of the UART3_
  *         thread. It processes all commands for the motors
  *         physically connected to UART3, and initiates the I/O
  *         calls to them. Whenever it processes read commands for
  *         a motor, it sends the data received to the
  *         multi-writer sensor queue, which is read only by the
  *         TX task.
  *
  *         This function never returns.
  *
  * @ingroup Threads
  */
void StartUART3Task(void const * argument)
{
    // Here, we use task notifications to block this task from running until a notification
    // is received. This allows one-time setup to complete in a low-priority task.
    xTaskNotifyWait(UINT32_MAX, UINT32_MAX, NULL, portMAX_DELAY);

    UARTcmd_t cmdMessage;
    TXData_t dataToSend;
    dataToSend.eDataType = eMotorData;

    for(;;)
    {
        while(xQueueReceive(UART3_reqHandle, &cmdMessage, portMAX_DELAY) != pdTRUE);
        UART_ProcessEvent(&cmdMessage, &dataToSend);
    }
}

/**
  * @brief  This function is executed in the context of the UART4_
  *         thread. It processes all commands for the motors
  *         physically connected to UART4, and initiates the I/O
  *         calls to them. Whenever it processes read commands for
  *         a motor, it sends the data received to the
  *         multi-writer sensor queue, which is read only by the
  *         TX task.
  *
  *         This function never returns.
  *
  * @ingroup Threads
  */
void StartUART4Task(void const * argument)
{
    // Here, we use task notifications to block this task from running until a notification
    // is received. This allows one-time setup to complete in a low-priority task.
    xTaskNotifyWait(UINT32_MAX, UINT32_MAX, NULL, portMAX_DELAY);

    UARTcmd_t cmdMessage;
    TXData_t dataToSend;
    dataToSend.eDataType = eMotorData;

    for(;;)
    {
        while(xQueueReceive(UART4_reqHandle, &cmdMessage, portMAX_DELAY) != pdTRUE);
        UART_ProcessEvent(&cmdMessage, &dataToSend);
    }
}

/**
  * @brief  This function is executed in the context of the UART6_
  *         thread. It processes all commands for the motors
  *         physically connected to UART6, and initiates the I/O
  *         calls to them. Whenever it processes read commands for
  *         a motor, it sends the data received to the
  *         multi-writer sensor queue, which is read only by the
  *         TX task.
  *
  *         This function never returns.
  *
  * @ingroup Threads
  */
void StartUART6Task(void const * argument)
{
    // Here, we use task notifications to block this task from running until a notification
    // is received. This allows one-time setup to complete in a low-priority task.
    xTaskNotifyWait(UINT32_MAX, UINT32_MAX, NULL, portMAX_DELAY);

    /* Infinite loop */
    UARTcmd_t cmdMessage;
    TXData_t dataToSend;
    dataToSend.eDataType = eMotorData;

    for(;;)
    {
        while(xQueueReceive(UART6_reqHandle, &cmdMessage, portMAX_DELAY) != pdTRUE);
        UART_ProcessEvent(&cmdMessage, &dataToSend);
    }
}

/**
  * @brief  This function is executed in the context of the
  *         IMUTask thread. During each control cycle, this thread
  *         fetches accelerometer and gyroscope data, then sends
  *         this data to the multi-writer sensor queue, which is
  *         read only by the TX task.
  *
  *         This function never returns.
  *
  * @ingroup Threads
  */
void StartIMUTask(void const * argument)
{
    // Here, we use task notifications to block this task from running until a notification
    // is received. This allows one-time setup to complete in a low-priority task.
    xTaskNotifyWait(UINT32_MAX, UINT32_MAX, NULL, portMAX_DELAY);

    /* Infinite loop */
    TXData_t dataToSend;
    dataToSend.eDataType = eIMUData;

    TickType_t xLastWakeTime;
    xLastWakeTime = xTaskGetTickCount();

    const TickType_t IMU_CYCLE_TIME_MS = 2;
    uint8_t i = 0;

    MPUFilter_InitAllFilters();

    for(;;)
    {
        // Service this thread every 2 ms for a 500 Hz sample rate
        vTaskDelayUntil(&xLastWakeTime, pdMS_TO_TICKS(IMU_CYCLE_TIME_MS));

        MPU6050_Read_Accelerometer_Withoffset_IT(&IMUdata); // Also updates pitch and roll

        // Gyroscope data is much more volatile/sensitive to changes than
        // acceleration data. To compensate, we feed in samples to the filter
        // slower. Good DSP practise? Not sure. To compensate for the high
        // delays, we also use a filter with fewer taps than the acceleration
        // filters. Ideally: we would sample faster to reduce aliasing, then
        // use a filter with a smaller cutoff frequency. However, the filter
        // designer we are using does not allow us to generate such filters in
        // the free version, so this is the best we can do unless we use other
        // software.
        if (i % 16 == 0) {
            MPU6050_Read_Gyroscope_Withoffset_IT(&IMUdata);
            MPUFilter_FilterAngularVelocity(&IMUdata);
        }
        i++;

        dataToSend.pData = &IMUdata;
        xQueueSend(TXQueueHandle, &dataToSend, 0);
    }
}

/**
  * @brief  This function is executed in the context of the RxTask
  *         thread. It initiates DMA-based receptions of RobotGoals
  *         from the PC via UART5. Upon successful reception of a
  *         RobotGoal, the UARTx_ and IMUTask threads are unblocked.
  *
  *         This function never returns.
  *
  * @ingroup Threads
  */
void StartRxTask(void const * argument)
{
    uint8_t robotGoalData[sizeof(RobotGoal)];
    uint8_t *robotGoalDataPtr;
    uint8_t buffRx[92];
    uint8_t startSeqCount;
    uint8_t totalBytesRead;

    // Receiving
    robotGoal.id = 0;
    robotGoalDataPtr = robotGoalData;
    startSeqCount = 0;
    totalBytesRead = 0;

    // Sending
    robotState.id = 0;
    robotState.start_seq = UINT32_MAX;
    robotState.end_seq = 0;

    xTaskNotifyWait(UINT32_MAX, UINT32_MAX, NULL, portMAX_DELAY);

    HAL_StatusTypeDef status;

    uint32_t notification;

    HAL_UART_Receive_DMA(&huart5, (uint8_t*)buffRx, sizeof(buffRx));

    for (;;)
    {
        // Wait until notified from ISR. Clear no bits on entry in case the notification
        // comes before this statement is executed (which is rather unlikely as long as
        // this task has the highest priority, but overall this is a better decision in
        // case priorities are changed in the future and someone forgets about this.
        do{
            xTaskNotifyWait(0, NOTIFIED_FROM_RX_ISR, &notification, portMAX_DELAY);
        }while((notification & NOTIFIED_FROM_RX_ISR) != NOTIFIED_FROM_RX_ISR);

        do{
            // This do-while loop with the mutex inside of it makes calls to the UART module
            // responsible for PC communication atomic. This attempts to solve the following
            // scenario: the TX thread is in the middle of executing the call to HAL_UART_Transmit
            // when suddenly the RX thread is unblocked. The RX thread calls HAL_UART_Receive, and
            // returns immediately when it detects that the uart module is already locked. Then
            // the RX thread blocks itself and never wakes up since a RX transfer was never
            // initialized.
            xSemaphoreTake(PCUARTHandle, 1);
            status = HAL_UART_Receive_DMA(&huart5, (uint8_t*)buffRx, sizeof(buffRx));
            xSemaphoreGive(PCUARTHandle);
        }while(status != HAL_OK);

        for (uint8_t i = 0; i < sizeof(buffRx); i++) {
            if (startSeqCount == 4) {
                // This control block is entered when the header sequence of
                // 0xFFFFFFFF has been received; thus we know the data we
                // receive will be in tact

                *robotGoalDataPtr = buffRx[i];
                robotGoalDataPtr++;
                totalBytesRead++;

                if (totalBytesRead == sizeof(RobotGoal)) {
                    // If, after the last couple of receive interrupts, we have
                    // received sizeof(RobotGoal) bytes, then we copy the data
                    // buffer into the robotGoal structure and wake the control
                    // thread to distribute states to each actuator
                    memcpy(&robotGoal, robotGoalData, sizeof(RobotGoal));
                    robotState.id = robotGoal.id;

                    // Reset the variables to help with reception of a RobotGoal
                    robotGoalDataPtr = robotGoalData;
                    startSeqCount = 0;
                    totalBytesRead = 0;

                    xTaskNotify(CommandTaskHandle, NOTIFIED_FROM_TASK, eSetBits); // Wake control task
                    xTaskNotify(IMUTaskHandle, NOTIFIED_FROM_TASK, eSetBits); // Wake MPU task
                    continue;
                }
            }else{
                // This control block is used to verify that the data header is in tact
                if (buffRx[i] == 0xFF) {
                    startSeqCount++;
                } else {
                    startSeqCount = 0;
                }
            }
        }
    }
}

/**
  * @brief  This function is executed in the context of the TxTask
  *         thread. This thread is blocked until all sensor data
  *         has been received through the sensor queue. After this
  *         time, the UARTx_ and IMUTask will be blocked. Then, a
  *         DMA-based transmission of a RobotState is sent to the
  *         PC via UART5.
  *
  *         This function never returns.
  *
  * @ingroup Threads
  */
void StartTxTask(void const * argument)
{
    xTaskNotifyWait(UINT32_MAX, UINT32_MAX, NULL, portMAX_DELAY);

    TXData_t receivedData;
    Dynamixel_HandleTypeDef* motorPtr = NULL;
    MPU6050_HandleTypeDef* imuPtr = NULL;
    char* const pIMUXGyroData = &robotState.msg[ROBOT_STATE_MPU_DATA_OFFSET];

    HAL_StatusTypeDef status;
    uint32_t notification;
    uint32_t dataReadyFlags = 0; // Bits in this are set based on which sensor data is ready

    uint32_t NOTIFICATION_MASK = 0x80000000;
    for(uint8_t i = 1; i <= 12; i++){
        NOTIFICATION_MASK |= (1 << i);
    }

    for(;;)
    {
        while((dataReadyFlags & NOTIFICATION_MASK) != NOTIFICATION_MASK){
            while(xQueueReceive(TXQueueHandle, &receivedData, portMAX_DELAY) != pdTRUE);

            switch(receivedData.eDataType){
            case eMotorData:
                motorPtr = (Dynamixel_HandleTypeDef*)receivedData.pData;

                if(motorPtr == NULL){ break; }

                // Validate data and store it in robotState
                if(motorPtr->_ID <= NUM_MOTORS){
                    // Copy sensor data for this motor into its section of robotState.msg
                    memcpy(&robotState.msg[4 * (motorPtr->_ID - 1)], &(motorPtr->_lastPosition), sizeof(float));

                    // Set flag indicating the motor with this id has reported in with position data
                    dataReadyFlags |= (1 << motorPtr->_ID);
                }
                break;
            case eIMUData:
                imuPtr = (MPU6050_HandleTypeDef*)receivedData.pData;

                if(imuPtr == NULL){ break; }

                // Copy sensor data into the IMU data section of robotState.msg
                memcpy(pIMUXGyroData, (&imuPtr->_X_GYRO), 6 * sizeof(float));

                // Set flag indicating IMU data has reported in
                dataReadyFlags |= 0x80000000;
                break;
            default:
                break;
            }
        }
        dataReadyFlags = 0; // Clear all flags

        do{
            // This do-while loop with the mutex inside of it makes calls to the UART module
            // responsible for PC communication atomic. This attempts to solve the following
            // scenario: the TX thread is in the middle of executing the call to HAL_UART_Transmit
            // when suddenly the RX thread is unblocked. The RX thread calls HAL_UART_Receive, and
            // returns immediately when it detects that the uart module is already locked. Then
            // the RX thread blocks itself and never wakes up since a RX transfer was never
            // initialized.
            xSemaphoreTake(PCUARTHandle, 1);
            status = HAL_UART_Transmit_DMA(&huart5, (uint8_t*)&robotState, sizeof(RobotState));
            xSemaphoreGive(PCUARTHandle);
        }while(status != HAL_OK);

        // Wait until notified from ISR. Clear no bits on entry in case the notification
        // came while a higher priority task was executing.
        do{
            xTaskNotifyWait(0, NOTIFIED_FROM_TX_ISR, &notification, portMAX_DELAY);
        }while((notification & NOTIFIED_FROM_TX_ISR) != NOTIFIED_FROM_TX_ISR);
    }
}

/**
 * @defgroup Callbacks Callbacks
 * @brief    Callback functions for unblocking FreeRTOS threads which perform
 *           non-blocking I/O
 *
 * @ingroup FreeRTOS
 */

/**
  * @brief  This function is called whenever a memory read from a I2C
  *         device is completed. For this program, the callback behaviour
  *         consists of unblocking the thread which initiated the I/O and
  *         yielding to a higher priority task from the ISR if there are
  *         any that can run.
  * @param  hi2c pointer to a I2C_HandleTypeDef structure that contains
  *         the configuration information for I2C module corresponding to
  *         the callback
  * @return None
  *
  * @ingroup Callbacks
  */
void HAL_I2C_MemRxCpltCallback(I2C_HandleTypeDef *hi2c)
{
	// This callback runs after the interrupt data transfer from the sensor to the mcu is finished
	BaseType_t xHigherPriorityTaskWoken = pdFALSE;
	xTaskNotifyFromISR(IMUTaskHandle, NOTIFIED_FROM_RX_ISR, eSetBits, &xHigherPriorityTaskWoken);
	portYIELD_FROM_ISR(xHigherPriorityTaskWoken);
}

/**
  * @brief  This function is called whenever a transmission from a UART
  *         module is completed. For this program, the callback behaviour
  *         consists of unblocking the thread which initiated the I/O and
  *         yielding to a higher priority task from the ISR if there are
  *         any that can run.
  * @param  huart pointer to a UART_HandleTypeDef structure that contains
  *         the configuration information for UART module corresponding to
  *         the callback
  * @return None
  *
  * @ingroup Callbacks
  */
void HAL_UART_TxCpltCallback(UART_HandleTypeDef* huart){
    if(setupIsDone){
        BaseType_t xHigherPriorityTaskWoken = pdFALSE;
        if(huart == &huart5){
            xTaskNotifyFromISR(TxTaskHandle, NOTIFIED_FROM_TX_ISR, eSetBits, &xHigherPriorityTaskWoken);
        }
        if(huart == &huart1){
            xTaskNotifyFromISR(UART1TaskHandle, NOTIFIED_FROM_TX_ISR, eSetBits, &xHigherPriorityTaskWoken);
        }
        else if(huart == &huart2){
            xTaskNotifyFromISR(UART2TaskHandle, NOTIFIED_FROM_TX_ISR, eSetBits, &xHigherPriorityTaskWoken);
        }
        else if(huart == &huart3){
            xTaskNotifyFromISR(UART3TaskHandle, NOTIFIED_FROM_TX_ISR, eSetBits, &xHigherPriorityTaskWoken);
        }
        else if(huart == &huart4){
            xTaskNotifyFromISR(UART4TaskHandle, NOTIFIED_FROM_TX_ISR, eSetBits, &xHigherPriorityTaskWoken);
        }
        else if(huart == &huart6){
            xTaskNotifyFromISR(UART6TaskHandle, NOTIFIED_FROM_TX_ISR, eSetBits, &xHigherPriorityTaskWoken);
        }
        portYIELD_FROM_ISR(xHigherPriorityTaskWoken);
    }
}

/**
  * @brief  This function is called whenever a reception from a UART
  *         module is completed. For this program, the callback behaviour
  *         consists of unblocking the thread which initiated the I/O and
  *         yielding to a higher priority task from the ISR if there are
  *         any that can run.
  * @param  huart pointer to a UART_HandleTypeDef structure that contains
  *         the configuration information for UART module corresponding to
  *         the callback
  * @return None
  *
  * @ingroup Callbacks
  */
void HAL_UART_RxCpltCallback(UART_HandleTypeDef * huart) {
    BaseType_t xHigherPriorityTaskWoken = pdFALSE;
    if (huart == &huart5) {
        xTaskNotifyFromISR(RxTaskHandle, NOTIFIED_FROM_RX_ISR, eSetBits, &xHigherPriorityTaskWoken);
    }
    if(huart == &huart1){
        xTaskNotifyFromISR(UART1TaskHandle, NOTIFIED_FROM_RX_ISR, eSetBits, &xHigherPriorityTaskWoken);
    }
    else if(huart == &huart2){
        xTaskNotifyFromISR(UART2TaskHandle, NOTIFIED_FROM_RX_ISR, eSetBits, &xHigherPriorityTaskWoken);
    }
    else if(huart == &huart3){
        xTaskNotifyFromISR(UART3TaskHandle, NOTIFIED_FROM_RX_ISR, eSetBits, &xHigherPriorityTaskWoken);
    }
    else if(huart == &huart4){
        xTaskNotifyFromISR(UART4TaskHandle, NOTIFIED_FROM_RX_ISR, eSetBits, &xHigherPriorityTaskWoken);
    }
    else if(huart == &huart6){
        xTaskNotifyFromISR(UART6TaskHandle, NOTIFIED_FROM_RX_ISR, eSetBits, &xHigherPriorityTaskWoken);
    }
    portYIELD_FROM_ISR(xHigherPriorityTaskWoken);
}

/**
  * @brief  This function is called whenever an error is encountered in
  *         association with a UART module. For this program, the callback
  *         behaviour consists of storing the error code in a local
  *         variable.
  * @param  huart pointer to a UART_HandleTypeDef structure that contains
  *         the configuration information for UART module corresponding to
  *         the callback
  * @return None
  *
  * @ingroup Callbacks
  */
void HAL_UART_ErrorCallback(UART_HandleTypeDef *huart)
{
    error = HAL_UART_GetError(huart);
}
/* USER CODE END Application */

/************************ (C) COPYRIGHT STMicroelectronics *****END OF FILE****/
